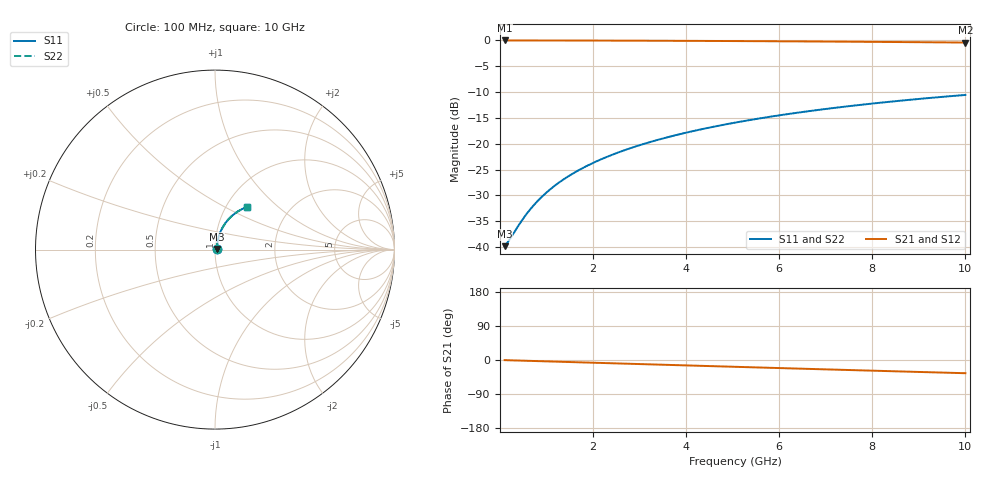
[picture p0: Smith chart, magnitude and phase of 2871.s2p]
# Hz S RI R 50.00
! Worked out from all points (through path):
!   100 points, 100 MHz to 10 GHz, reference 50 ohm
!   highest |S21| = -0.09 dB at 100 MHz (marker M1); lowest = -0.5 dB at 10 GHz (marker M2)
!   group delay of S21, straight-line fit = 9.7 ps
!   lowest |S11| = -39.8 dB at 100 MHz (marker M3), VSWR 1.02, Z = 51 + j0.323 ohm
!   |S11| at or under -10 dB: start of sweep to end of sweep
!   |S22| runs from -39.8 to -10.6 dB; largest |S21 - S12| = 0
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1e8  0.00975 0.00317  0.9902 -0.00619  0.9902 -0.00619  0.00975 0.00317
2e8  0.00987 0.00634  0.9901 -0.0124  0.9901 -0.0124  0.00987 0.00634
4e8  0.0102 0.0127  0.9897 -0.0248  0.9897 -0.0248  0.0102 0.0127
5e8  0.0104 0.0158  0.9895 -0.0309  0.9895 -0.0309  0.0104 0.0158
6e8  0.0107 0.019  0.9892 -0.0371  0.9892 -0.0371  0.0107 0.019
7e8  0.0109 0.0221  0.9888 -0.0433  0.9888 -0.0433  0.0109 0.0221
9e8  0.0116 0.0284  0.988 -0.0556  0.988 -0.0556  0.0116 0.0284
1.1e9  0.0124 0.0347  0.987 -0.068  0.987 -0.068  0.0124 0.0347
1.3e9  0.0134 0.041  0.9858 -0.0803  0.9858 -0.0803  0.0134 0.041
1.5e9  0.0146 0.0472  0.9844 -0.0925  0.9844 -0.0925  0.0146 0.0472
1.8e9  0.0165 0.0565  0.9819 -0.1109  0.9819 -0.1109  0.0165 0.0565
2.1e9  0.0189 0.0656  0.979 -0.1291  0.979 -0.1291  0.0189 0.0656
2.5e9  0.0225 0.0777  0.9746 -0.1533  0.9746 -0.1533  0.0225 0.0777
2.9e9  0.0267 0.0896  0.9693 -0.1773  0.9693 -0.1773  0.0267 0.0896
3.4e9  0.0328 0.104  0.9618 -0.2069  0.9618 -0.2069  0.0328 0.104
4.2e9  0.0443 0.1262  0.9475 -0.2534  0.9475 -0.2534  0.0443 0.1262
5.1e9  0.0596 0.1495  0.9282 -0.304  0.9282 -0.304  0.0596 0.1495
5.9e9  0.0752 0.1686  0.9084 -0.3474  0.9084 -0.3474  0.0752 0.1686
6.7e9  0.0925 0.1859  0.8864 -0.389  0.8864 -0.389  0.0925 0.1859
7.5e9  0.1112 0.2014  0.8623 -0.4288  0.8623 -0.4288  0.1112 0.2014
8.4e9  0.1337 0.2164  0.8329 -0.4713  0.8329 -0.4713  0.1337 0.2164
1e10  0.1764 0.2366  0.7759 -0.5403  0.7759 -0.5403  0.1764 0.2366
